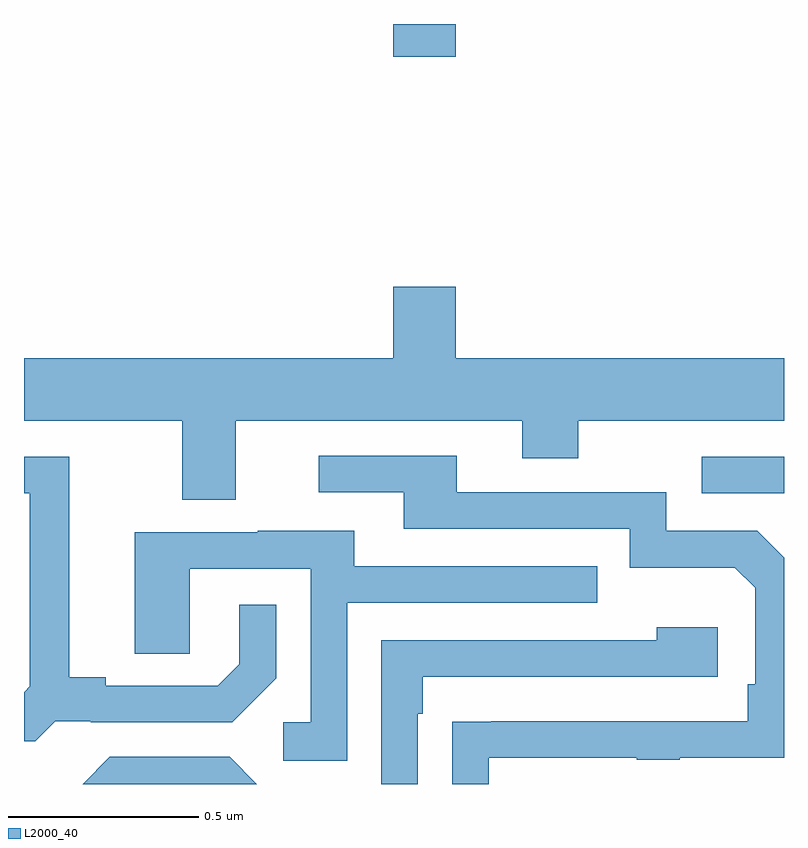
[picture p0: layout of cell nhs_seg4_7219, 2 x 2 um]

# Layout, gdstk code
import gdstk
lib = gdstk.Library(unit=1e-6, precision=1e-09)
def R(c, l, rs):  # rectangles x0, y0, x1, y1
    for r in rs: c.add(gdstk.rectangle(r[:2], r[2:], *l))
def P(c, l, *ps):  # polygons
    for p in ps: c.add(gdstk.Polygon(p, *l))
L2000_40 = (2000, 40)

nhs_seg4_7219 = lib.new_cell('nhs_seg4_7219')
R(nhs_seg4_7219, L2000_40, [(201.783,760.665,202,760.761), (200.972,761.814,201.136,761.9)])
P(nhs_seg4_7219, L2000_40, [(200.557,760.856),(201.311,760.856),(201.311,760.757),(201.459,760.757),(201.459,760.856),(202,760.856),(202,761.02),(201.136,761.02),(201.136,761.209),(200.972,761.209),(200.972,761.02),(200,761.02),(200,760.856),(200.417,760.856),(200.417,760.648),(200.557,760.648)],
  [(201.223,759.969),(201.613,759.969),(201.613,759.964),(201.725,759.964),(201.725,759.969),(202,759.969),(202,760.496),(201.93,760.566),(201.69,760.566),(201.69,760.668),(201.139,760.668),(201.139,760.764),(200.775,760.764),(200.775,760.668),(200.999,760.668),(200.999,760.572),(201.594,760.572),(201.594,760.469),(201.871,760.469),(201.924,760.416),(201.924,760.162),(201.904,760.162),(201.904,760.065),(201.229,760.065),(201.229,760.064),(201.127,760.064),(201.127,759.9),(201.223,759.9)],
  [(200.082,760.065),(200.176,760.065),(200.176,760.062),(200.548,760.062),(200.664,760.178),(200.664,760.372),(200.567,760.372),(200.567,760.215),(200.51,760.158),(200.215,760.158),(200.215,760.181),(200.119,760.181),(200.119,760.761),(200,760.761),(200,760.665),(200.015,760.665),(200.015,760.157),(200,760.142),(200,760.013),(200.03,760.013)],
  [(200.85,760.377),(201.509,760.377),(201.509,760.473),(200.869,760.473),(200.869,760.567),(200.615,760.567),(200.615,760.563),(200.291,760.563),(200.291,760.243),(200.436,760.243),(200.436,760.467),(200.754,760.467),(200.754,760.062),(200.682,760.062),(200.682,759.961),(200.85,759.961)],
  [(201.036,760.085),(201.049,760.085),(201.049,760.182),(201.826,760.182),(201.826,760.312),(201.665,760.312),(201.665,760.278),(200.94,760.278),(200.94,759.9),(201.036,759.9)],
  [(200.541,759.972),(200.226,759.972),(200.154,759.9),(200.613,759.9)])

lib.write_gds('nhs_seg4_7219.gds')
